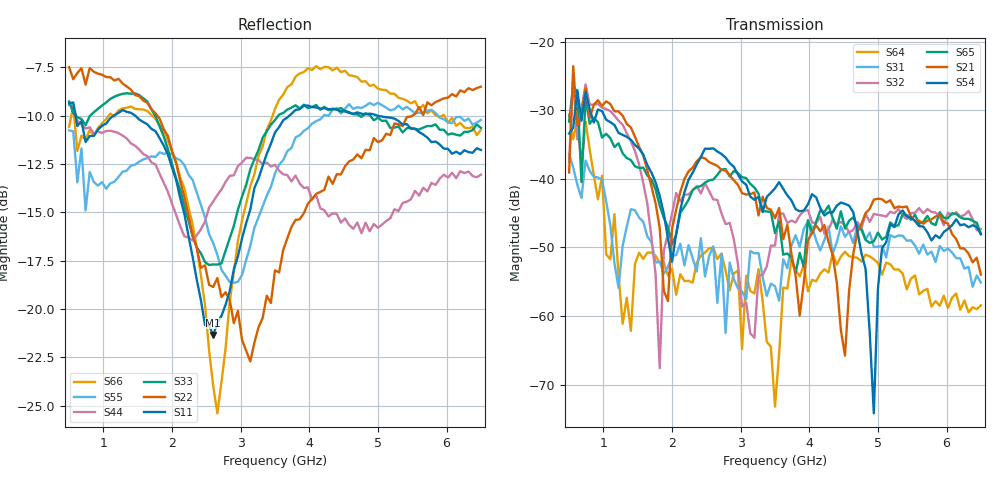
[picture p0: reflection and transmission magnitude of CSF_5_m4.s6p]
!Keysight Technologies,M9804A,MY58100912,A.14.10.03
!Date: Thursday, April 27, 2023 10:28:33
!Correction: S11(C  6-Port  )
!S12(C  6-Port  )
!S13(C  6-Port  )
!S14(C  6-Port  )
!S15(C  6-Port  )
!S16(C  6-Port  )
!S21(C  6-Port  )
!S22(C  6-Port  )
!S23(C  6-Port  )
!S24(C  6-Port  )
!S25(C  6-Port  )
!S26(C  6-Port  )
!S31(C  6-Port  )
!S32(C  6-Port  )
!S33(C  6-Port  )
!S34(C  6-Port  )
!S35(C  6-Port  )
!S36(C  6-Port  )
!S41(C  6-Port  )
!S42(C  6-Port  )
!S43(C  6-Port  )
!S44(C  6-Port  )
!S45(C  6-Port  )
!S46(C  6-Port  )
!S51(C  6-Port  )
!S52(C  6-Port  )
!S53(C  6-Port  )
!S54(C  6-Port  )
!S55(C  6-Port  )
!S56(C  6-Port  )
!S61(C  6-Port  )
!S62(C  6-Port  )
!S63(C  6-Port  )
!S64(C  6-Port  )
!S65(C  6-Port  )
!S66(C  6-Port  )
!S6P File: Measurement: :
# Hz S  RI  R 50
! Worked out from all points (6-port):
!   101 points, 500 MHz to 6.5 GHz, reference 50 ohm
!   strongest paths, dB at 500 MHz, 2 GHz, 3.5 GHz, 5 GHz, 6.5 GHz:
!     S54: -33.4, -52.1, -41.4, -55.9, -48.1
!     S21: -39.1, -47.3, -45.7, -42.9, -54.0
!     S65: -31.7, -49.5, -47.9, -47.8, -48.0
!     S32: -37.5, -45.1, -49.7, -45.3, -47.3
!     S31: -36.4, -51.2, -55.6, -49.9, -55.1
!     S64: -30.6, -53.1, -73.2, -52.3, -58.4
!   lowest |S11| = -21.3 dB at 2.6 GHz (marker M1), VSWR 1.19, Z = 42.4 + j2.28 ohm
!   |S11| at or under -10 dB: 593.6 MHz to 1.149 GHz (555.5 MHz wide, 63.8 % of centre); 1.462 GHz to 3.709 GHz (2.247 GHz wide, 86.9 % of centre); 4.992 GHz to end of sweep
